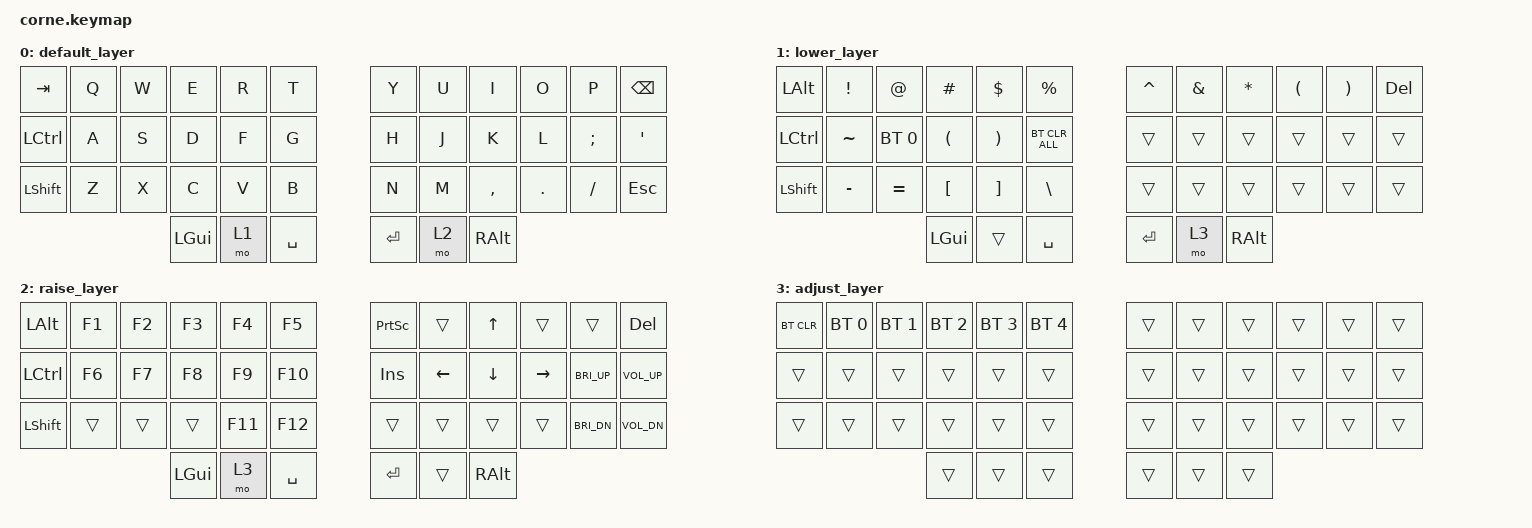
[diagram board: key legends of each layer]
/*
 * Corne Keyboard - ZMK Keymap
 * Wygenerowano na podstawie screenshotów (3 warstwy, 42 klawisze)
 */

#include <behaviors.dtsi>
#include <dt-bindings/zmk/bt.h>
#include <dt-bindings/zmk/keys.h>

/ {
    keymap {
        compatible = "zmk,keymap";

        // ──────────────────────────────────────────────────────────
        // Layer 0 – Base (QWERTY)
        // ──────────────────────────────────────────────────────────

        default_layer {
            bindings = <
&kp TAB    &kp Q  &kp W  &kp E     &kp R  &kp T        &kp Y    &kp U  &kp I      &kp O    &kp P     &kp BSPC
&kp LCTRL  &kp A  &kp S  &kp D     &kp F  &kp G        &kp H    &kp J  &kp K      &kp L    &kp SEMI  &kp SQT
&kp LSHFT  &kp Z  &kp X  &kp C     &kp V  &kp B        &kp N    &kp M  &kp COMMA  &kp DOT  &kp FSLH  &kp ESC
                         &kp LGUI  &mo 1  &kp SPACE    &kp RET  &mo 2  &kp RALT
            >;
        };

        // ──────────────────────────────────────────────────────────
        // Layer 1 – Symbole / Cyfry
        // ──────────────────────────────────────────────────────────

        lower_layer {
            bindings = <
&kp LALT   &kp EXCL   &kp AT        &kp HASH  &kp DLLR  &kp PRCNT         &kp CARET  &kp AMPS  &kp STAR  &kp LPAR  &kp RPAR  &kp DEL
&kp LCTRL  &kp TILDE  &bt BT_SEL 0  &kp LPAR  &kp RPAR  &bt BT_CLR_ALL    &trans     &trans    &trans    &trans    &trans    &trans
&kp LSHFT  &kp MINUS  &kp EQUAL     &kp LBKT  &kp RBKT  &kp BSLH          &trans     &trans    &trans    &trans    &trans    &trans
                                    &kp LGUI  &trans    &kp SPACE         &kp RET    &mo 3     &kp RALT
            >;
        };

        // ──────────────────────────────────────────────────────────
        // Layer 2 – F-klawisze / Nawigacja / Media
        // ──────────────────────────────────────────────────────────

        raise_layer {
            bindings = <
&kp LALT   &kp F1  &kp F2  &kp F3    &kp F4   &kp F5       &kp PSCRN  &trans    &kp UP    &trans     &trans        &kp DEL
&kp LCTRL  &kp F6  &kp F7  &kp F8    &kp F9   &kp F10      &kp INS    &kp LEFT  &kp DOWN  &kp RIGHT  &kp C_BRI_UP  &kp C_VOL_UP
&kp LSHFT  &trans  &trans  &trans    &kp F11  &kp F12      &trans     &trans    &trans    &trans     &kp C_BRI_DN  &kp C_VOL_DN
                           &kp LGUI  &mo 3    &kp SPACE    &kp RET    &trans    &kp RALT
            >;
        };

        // ──────────────────────────────────────────────────────────
        // Layer 3 – Bluetooth / System (MO1+MO2 jednocześnie)
        // ──────────────────────────────────────────────────────────

        adjust_layer {
            bindings = <
&bt BT_CLR  &bt BT_SEL 0  &bt BT_SEL 1  &bt BT_SEL 2  &bt BT_SEL 3  &bt BT_SEL 4    &trans  &trans  &trans  &trans  &trans  &trans
&trans      &trans        &trans        &trans        &trans        &trans          &trans  &trans  &trans  &trans  &trans  &trans
&trans      &trans        &trans        &trans        &trans        &trans          &trans  &trans  &trans  &trans  &trans  &trans
                                        &trans        &trans        &trans          &trans  &trans  &trans
            >;
        };
    };
};
